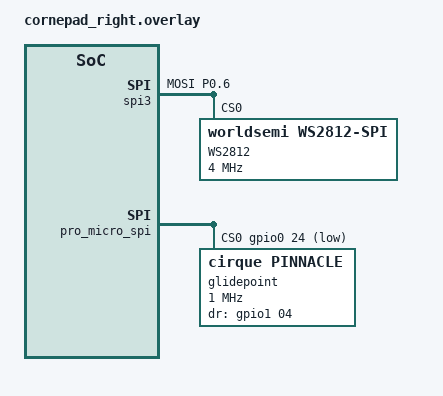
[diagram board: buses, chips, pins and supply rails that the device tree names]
/*
 * Copyright (c) 2020 Pete Johanson
 *
 * SPDX-License-Identifier: MIT
 */

#include "cornepad.dtsi"

#include <dt-bindings/zmk/outputs.h>
#include <zephyr/dt-bindings/input/input-event-codes.h>
#include <input/processors.dtsi>
#include <dt-bindings/zmk/input_transform.h>
#include <dt-bindings/zmk/ext_power.h>
#include <dt-bindings/zmk/pointing.h>
#include <input/processors.dtsi>
#include <behaviors/input_gestures_accel.dtsi>

#include <dt-bindings/led/led.h>
&pinctrl {
    spi3_default: spi3_default {
        group1 {
            psels = <NRF_PSEL(SPIM_MOSI, 0, 6)>;
        };
    };
    spi3_sleep: spi3_sleep {
        group1 {
            psels = <NRF_PSEL(SPIM_MOSI, 0, 6)>;
            low-power-enable;
        };
    };
};
&spi3 {
  compatible = "nordic,nrf-spim";
  status = "okay";
  pinctrl-0 = <&spi3_default>;
  pinctrl-1 = <&spi3_sleep>;
  pinctrl-names = "default", "sleep";
  led_strip: ws2812@0 {
    compatible = "worldsemi,ws2812-spi";
    label = "WS2812";
    /* SPI */
    reg = <0>; /* ignored, but necessary for SPI bindings */
    spi-max-frequency = <4000000>;
    /* WS2812 */
    chain-length = <21>; /* number of LEDs */
    spi-one-frame = <0x70>;
    spi-zero-frame = <0x40>;
    color-mapping = <LED_COLOR_ID_GREEN
                          LED_COLOR_ID_RED
                          LED_COLOR_ID_BLUE>;
  };
};

/ {
    chosen {
        zmk,underglow = &led_strip;
    };
};








#define ZMK_POINTING_DEFAULT_MOVE_VAL 600  // default: 600
#define ZMK_POINTING_DEFAULT_SCRL_VAL 10    // default: 10



&pinctrl {
    /* configuration for spi1 device, default state */
    spi1_default: spi1_default {
        /* node name is arbitrary */
        group1 {
            psels = <NRF_PSEL(SPIM_SCK,  1, 00)>,
                    <NRF_PSEL(SPIM_MOSI, 0, 11)>,
                    <NRF_PSEL(SPIM_MISO, 0, 22)>;
        };
    };

    /* configuration for spi1 device, sleep state */
    spi1_sleep: spi1_sleep {
        group1 {
            psels = <NRF_PSEL(SPIM_SCK, 1, 00)>,
                    <NRF_PSEL(SPIM_MOSI, 0, 11)>,
                    <NRF_PSEL(SPIM_MISO, 0, 22)>;
            low-power-enable;
        };
    };

};




&default_transform {
    col-offset = <6>;
};

&five_column_transform {
    col-offset = <6>;
};

&kscan0 {
    col-gpios
        = <&pro_micro 14 GPIO_ACTIVE_HIGH>
        , <&pro_micro 15 GPIO_ACTIVE_HIGH>
        , <&pro_micro 18 GPIO_ACTIVE_HIGH>
        , <&pro_micro 19 GPIO_ACTIVE_HIGH>
        , <&pro_micro 20 GPIO_ACTIVE_HIGH>
        , <&pro_micro 21 GPIO_ACTIVE_HIGH>
        ;
};


&pro_micro_spi {
    status = "okay";
    cs-gpios = <&gpio0 24 GPIO_ACTIVE_LOW>;

    glidepoint: glidepoint@0 {
        compatible = "cirque,pinnacle";
        reg = <0>;
        spi-max-frequency = <1000000>;
        status = "okay";
        dr-gpios = <&gpio1 04 (GPIO_ACTIVE_HIGH)>;
        &pointer_accel;
        sensitivity = "1x";
        // sleep;
        no-taps;
    };
};
//INPUT_TRANSFORM_XY_SWAP
&pointer_accel {
    input-type = <INPUT_EV_REL>;  // For relative input devices
    track-remainders;             // Accumulate fractional movements
    min-factor = <800>;          // 0.8x at very slow speeds
    max-factor = <3000>;         // 3.0x at fast speeds
    speed-threshold = <1200>;     // 1200 counts/sec for 1x
    speed-max = <6000>;          // 6000 counts/sec for max accel
    acceleration-exponent = <2>;  // Quadratic acceleration curve
};
/ {
    glidepoint_listener {
        compatible = "zmk,input-listener";
        device = <&glidepoint>;
        input-processors = 
        <&zip_xy_transform (INPUT_TRANSFORM_Y_INVERT)>,
        <&zip_xy_scaler 3 1>;
    };
          scroller {
        //layers = <SCROLL>;
        input-processors =
            <&zip_xy_to_scroll_mapper>,
            <&zip_scroll_transform (INPUT_TRANSFORM_Y_INVERT)>,
            <&zip_scroll_scaler 1 6>;
    }; // end scroller
};

